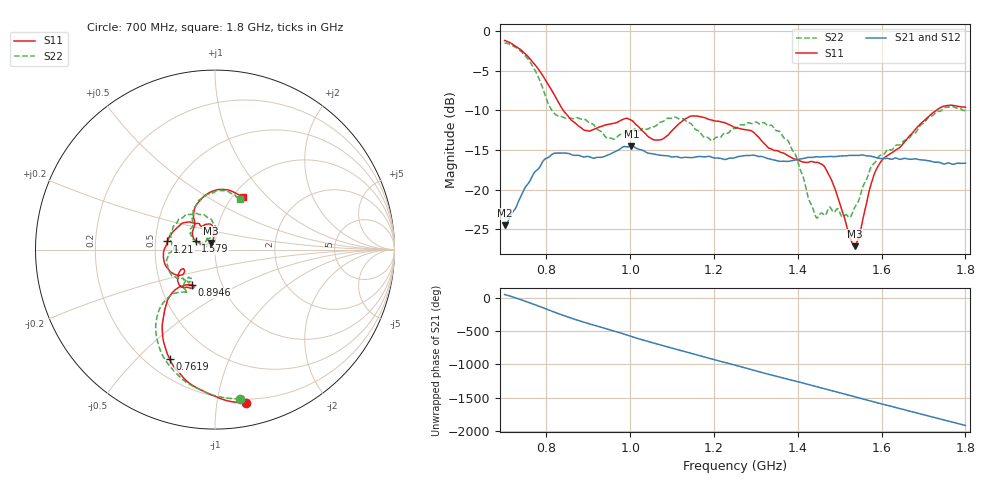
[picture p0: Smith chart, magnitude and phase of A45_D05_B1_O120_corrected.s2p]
! Created with skrf 1.9.0 (http://scikit-rf.org).
# Hz S RI R 50.0
!freq ReS11 ImS11 ReS21 ImS21 ReS12 ImS12 ReS22 ImS22
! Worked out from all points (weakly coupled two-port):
!   1601 points, 700 MHz to 1.8 GHz, reference 50 ohm
!   highest |S21| = -14.52 dB at 1.002 GHz (marker M1); lowest = -24.5 dB at 700.7 MHz (marker M2)
!   lowest |S11| = -27.1 dB at 1.535 GHz (marker M3), VSWR 1.09, Z = 47.6 + j3.59 ohm
!   |S11| at or under -10 dB: 839.7 MHz to 1.73 GHz (890.7 MHz wide, 69.3 % of centre)
!   |S22| runs from -23.6 to -1.5 dB; largest |S21 - S12| = 0.0035
!   S11 on the Smith chart (normalised r, x): 700 MHz: 0.17, -1.21; 761.9 MHz: 0.29, -0.63; 894.6 MHz: 0.72, -0.30; 1.21 GHz: 0.58, +0.06; 1.579 GHz: 0.80, +0.08; 1.8 GHz: 1.12, +0.73
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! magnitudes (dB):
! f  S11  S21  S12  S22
! 700 MHz  -1.2  -24.5  -24.3  -1.5
! 700.7 MHz  -1.2  -24.5  -24.2  -1.5
! 761.9 MHz  -3.6  -18.8  -18.7  -4.0
! 818.2 MHz  -8.0  -15.4  -15.5  -10.4
! 883.6 MHz  -12.3  -15.8  -15.7  -11.1
! 894.6 MHz  -12.5  -15.8  -15.9  -11.2
! 946.8 MHz  -11.8  -15.6  -15.7  -13.5
! 1.002 GHz  -11.2  -14.5  -14.6  -12.6
! 1.067 GHz  -13.8  -15.6  -15.6  -11.7
! 1.143 GHz  -10.7  -16.0  -16.0  -11.6
! 1.21 GHz  -11.4  -16.0  -16.0  -13.4
! 1.25 GHz  -12.2  -16.0  -15.9  -12.3
! 1.358 GHz  -15.3  -16.4  -16.4  -12.7
! 1.395 GHz  -16.2  -16.3  -16.3  -15.7
! 1.434 GHz  -16.5  -16.0  -15.9  -22.1
! 1.446 GHz  -16.6  -15.9  -15.9  -23.6
! 1.474 GHz  -18.1  -15.8  -15.8  -22.3
! 1.535 GHz  -27.1  -15.7  -15.7  -22.3
! 1.579 GHz  -18.6  -15.9  -15.8  -16.8
! 1.617 GHz  -15.6  -16.1  -16.1  -14.9
! 1.735 GHz  -9.8  -16.5  -16.6  -10.2
! 1.8 GHz  -9.6  -16.7  -16.7  -10.0
